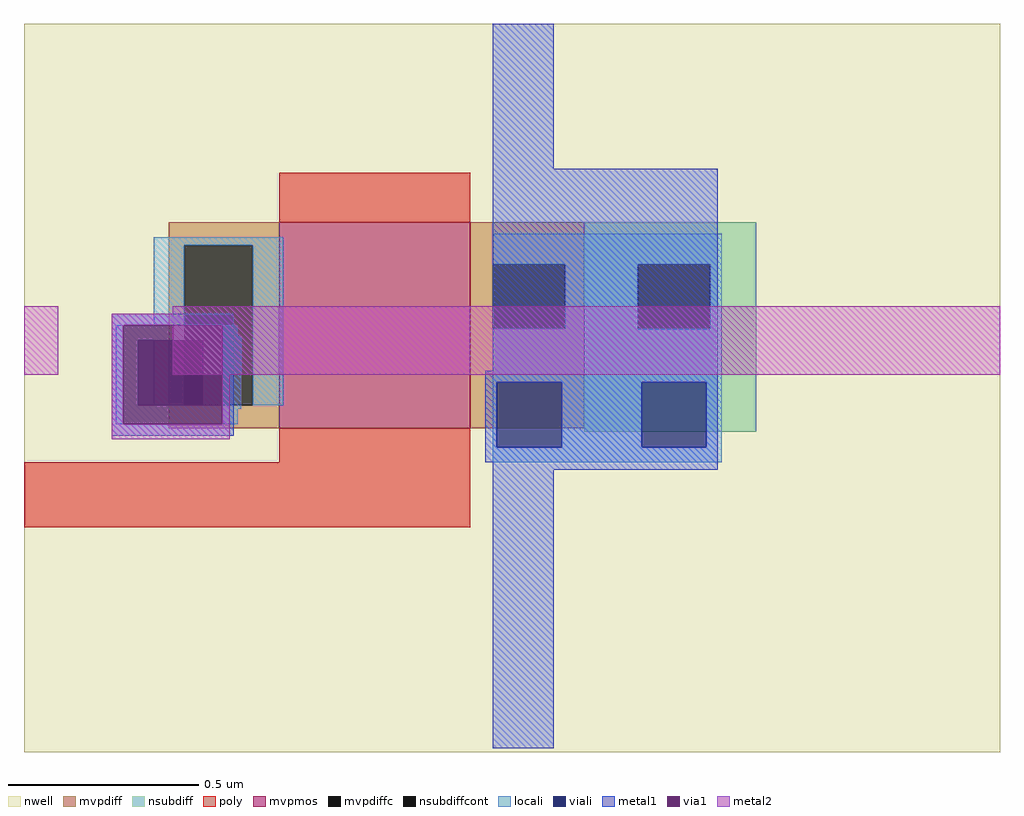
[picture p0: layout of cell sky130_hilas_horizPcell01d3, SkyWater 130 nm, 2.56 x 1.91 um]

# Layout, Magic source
magic
tech sky130A
<< nwell >>
rect 0 0 256 191
<< mvpmos >>
rect 67 85 117 139
<< mvpdiff >>
rect 38 133 67 139
rect 38 91 42 133
rect 60 91 67 133
rect 38 85 67 91
rect 117 128 147 139
rect 117 111 123 128
rect 142 111 147 128
rect 117 85 147 111
<< mvpdiffc >>
rect 42 91 60 133
rect 123 111 142 128
<< nsubdiff >>
rect 147 128 192 139
rect 147 111 161 128
rect 180 111 192 128
rect 147 84 192 111
<< nsubdiffcont >>
rect 161 111 180 128
<< poly >>
rect 67 139 117 152
rect 67 76 117 85
rect 0 59 117 76
<< locali >>
rect 34 133 68 135
rect 34 91 42 133
rect 60 91 68 133
rect 123 128 183 136
rect 142 111 161 128
rect 180 111 183 128
rect 123 97 183 111
rect 123 80 124 97
rect 141 80 162 97
rect 179 80 183 97
rect 123 76 183 80
<< viali >>
rect 124 80 141 97
rect 162 80 179 97
<< metal1 >>
rect 123 153 139 191
rect 123 100 182 153
rect 121 97 182 100
rect 121 80 124 97
rect 141 80 162 97
rect 179 80 182 97
rect 121 76 182 80
rect 123 74 182 76
rect 123 1 139 74
<< metal2 >>
rect 0 99 9 117
rect 39 99 256 117
use sky130_hilas_li2m2  sky130_hilas_li2m2_1
transform 1 0 23 0 -1 115
box 0 0 34 33
<< properties >>
string LEFsite unithd
string LEFclass CORE
string LEFsymmetry X Y R90
<< end >>

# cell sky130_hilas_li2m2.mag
magic
tech sky130A
<< locali >>
rect 1 25 33 29
rect 1 24 34 25
rect 1 7 7 24
rect 24 7 34 24
rect 1 6 34 7
rect 1 3 33 6
<< viali >>
rect 7 7 24 24
<< metal1 >>
rect 0 29 32 32
rect 0 3 3 29
rect 29 3 32 29
rect 0 0 32 3
<< via1 >>
rect 3 24 29 29
rect 3 7 7 24
rect 7 7 24 24
rect 24 7 29 24
rect 3 3 29 7
<< metal2 >>
rect 0 29 31 33
rect 0 3 3 29
rect 29 3 31 29
rect 0 0 31 3
<< properties >>
string LEFsite unithd
string LEFclass CORE
string LEFsymmetry X Y R90
<< end >>
